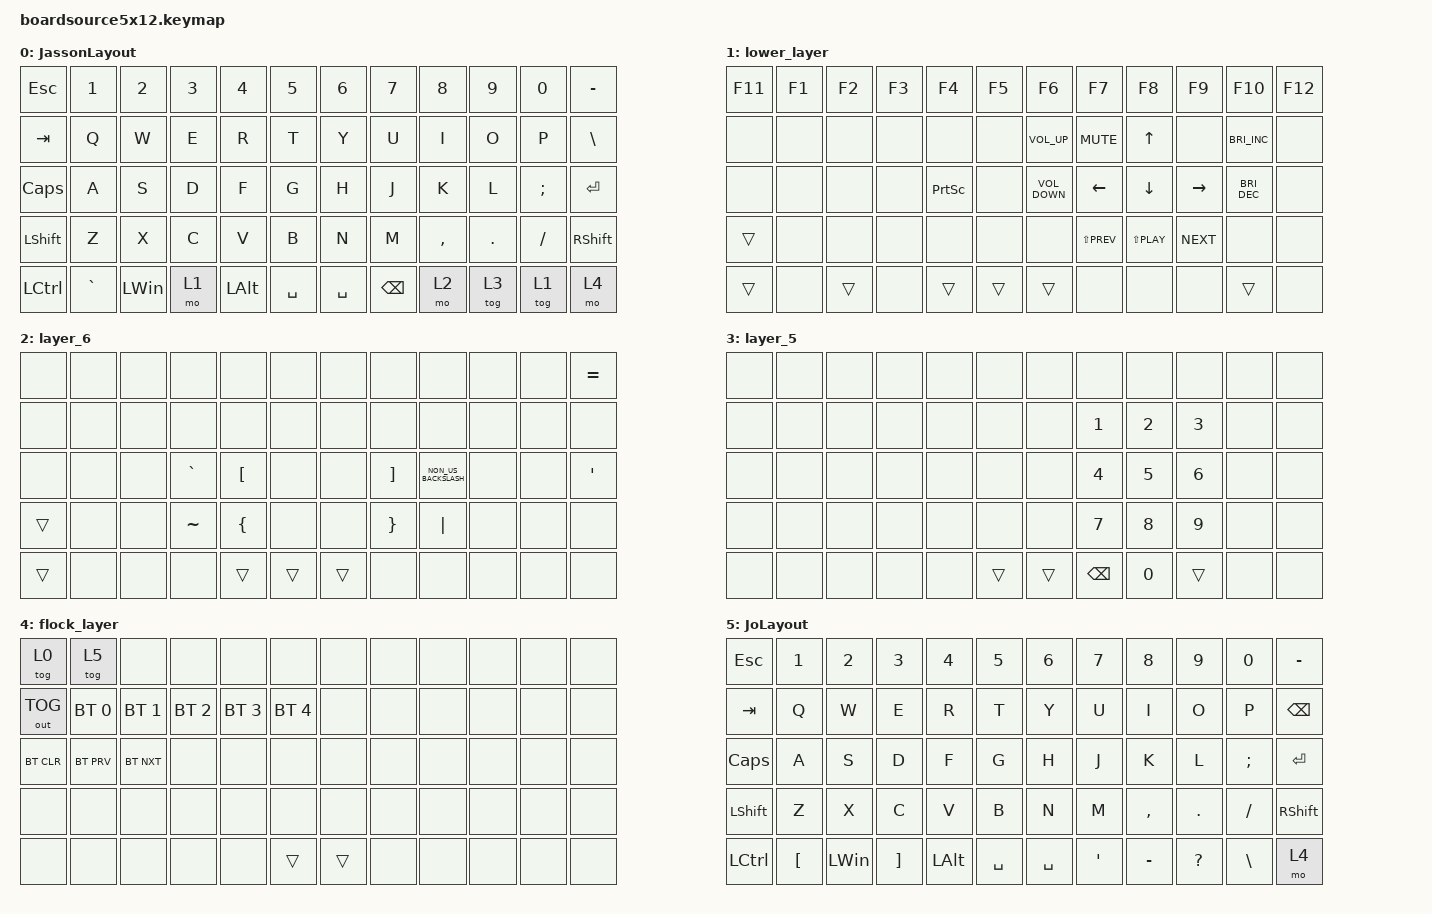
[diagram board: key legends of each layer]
/*
 * Copyright (c) 2021 The ZMK Contributors
 *
 * SPDX-License-Identifier: MIT
 */

/ {
    keymap {
        compatible = "zmk,keymap";

        /*
 * Copyright (c) 2021 The ZMK Contributors
 *
 * SPDX-License-Identifier: MIT
 */

#include <behaviors.dtsi>

#include <behaviors.dtsi>
#include <dt-bindings/zmk/bt.h>
#include <dt-bindings/zmk/keys.h>
#include <dt-bindings/zmk/outputs.h>

/ {
    keymap {
        compatible = "zmk,keymap";

        JassonLayout {
            // ------------------------------------------------------------------------------------------
            // |  ESC  |  1   |  2   |  3   |  4   |  5   |   6   |  7    |  8   |  9   |   0   | BSPC  |
            // |  TAB  |  Q   |  W   |  E   |  R   |  T   |   Y   |  U    |  I   |  O   |   P   |  \    |
            // | SHIFT |  A   |  S   |  D   |  F   |  G   |   H   |  J    |  K   |  L   |   ;   |  '    |
            // | CTRL  |  Z   |  X   |  C   |  V   |  B   |   N   |  M    |  ,   |  .   |   /   | ENTER |
            // |ADJUST | LCTL | LALT | LGUI | LOWR | SPACE| SPACE |  RAIS | LEFT | DOWN | UARW  | RARW  |

            bindings = <
&kp ESC           &kp N1     &kp N2        &kp N3  &kp N4        &kp N5     &kp N6     &kp N7         &kp N8     &kp N9   &kp N0    &kp MINUS
&kp TAB           &kp Q      &kp W         &kp E   &kp R         &kp T      &kp Y      &kp U          &kp I      &kp O    &kp P     &kp BSLH
&kp CAPSLOCK      &kp A      &kp S         &kp D   &kp F         &kp G      &kp H      &kp J          &kp K      &kp L    &kp SEMI  &kp ENTER
&kp LEFT_SHIFT    &kp Z      &kp X         &kp C   &kp V         &kp B      &kp N      &kp M          &kp COMMA  &kp DOT  &kp FSLH  &kp RIGHT_SHIFT
&kp LEFT_CONTROL  &kp GRAVE  &kp LEFT_WIN  &mo 1   &kp LEFT_ALT  &kp SPACE  &kp SPACE  &kp BACKSPACE  &mo 2      &tog 3   &tog 1    &mo 4
            >;
        };

        lower_layer {
            // -------------------------------------------------------------------------------------------
            // |  ESC  |  F2  |  F3  |  F4  |  F5  |  F6  |   F7  |  F8   |  F9  | F10  |  F11  |  F12  |
            // |   ~   |  !   |  @   |  #   |  $   |  %   |   ^   |   &   |  *   |  (   |   )   |  DEL  |
            // |       |  F1  |  F2  |  F3  |  F4  |  F5  |   F6  |   _   |  +   |  {   |   }   |   |   |
            // |       |  F7  |  F8  |  F9  |  F10 |  F11 |   F12 | LS(#) |LS(|) |      |       |       |
            // |       |      |      |      |      |      |       |       | NEXT | Vol- | Vol+ | PLAY   |

            bindings = <
&kp F11  &kp F1  &kp F2  &kp F3  &kp F4           &kp F5  &kp F6             &kp F7          &kp F8          &kp F9           &kp F10               &kp F12
&none    &none   &none   &none   &none            &none   &kp C_VOL_UP       &kp K_MUTE      &kp UP_ARROW    &none            &kp C_BRIGHTNESS_INC  &none
&none    &none   &none   &none   &kp PRINTSCREEN  &none   &kp C_VOLUME_DOWN  &kp LEFT_ARROW  &kp DOWN_ARROW  &kp RIGHT_ARROW  &kp C_BRIGHTNESS_DEC  &none
&trans   &none   &none   &none   &none            &none   &none              &kp LS(C_PREV)  &kp LS(C_PLAY)  &kp C_NEXT       &none                 &none
&trans   &none   &trans  &none   &trans           &trans  &trans             &none           &none           &none            &trans                &none
            >;
        };

        layer_6 {
            bindings = <
&none   &none  &none  &none      &none             &none   &none   &none              &none                 &none  &none  &kp EQUAL
&none   &none  &none  &none      &none             &none   &none   &none              &none                 &none  &none  &none
&none   &none  &none  &kp GRAVE  &kp LEFT_BRACKET  &none   &none   &kp RIGHT_BRACKET  &kp NON_US_BACKSLASH  &none  &none  &kp SQT
&trans  &none  &none  &kp TILDE  &kp LEFT_BRACE    &none   &none   &kp RIGHT_BRACE    &kp PIPE              &none  &none  &none
&trans  &none  &none  &none      &trans            &trans  &trans  &none              &none                 &none  &none  &none
            >;
        };

        layer_5 {
            bindings = <
&none  &none  &none  &none  &none  &none   &none   &none          &none         &none         &none  &none
&none  &none  &none  &none  &none  &none   &none   &kp NUMBER_1   &kp NUMBER_2  &kp NUMBER_3  &none  &none
&none  &none  &none  &none  &none  &none   &none   &kp NUMBER_4   &kp NUMBER_5  &kp NUMBER_6  &none  &none
&none  &none  &none  &none  &none  &none   &none   &kp NUMBER_7   &kp NUMBER_8  &kp NUMBER_9  &none  &none
&none  &none  &none  &none  &none  &trans  &trans  &kp BACKSPACE  &kp NUMBER_0  &trans        &none  &none
            >;
        };

        flock_layer {
            // ----------------------------------------------------------------------------------------------
            // |tog(4) |  F2    |   F3   |   F4   |   F5   |   F6   |  F7  |  F8  |  F9  | F10 | F11 |      |
            // |out tog|BT_SEL 0|BT_SEL 1|BT_SEL 2|BT_SEL 3|BT_SEL 4|BT_PRV|BT_NXT|BT_CLR|     |     |      |
            // |       |        |        |        |        |        |      |      |      |     |     |      |
            // |       |        |        |        |        |        |      |      |      |     |     |      |
            // |       |        |        |        |        |        |      |      |      |     |     |      |

            bindings = <
&tog 0        &tog 5        &none         &none         &none         &none         &none   &none  &none  &none  &none  &none
&out OUT_TOG  &bt BT_SEL 0  &bt BT_SEL 1  &bt BT_SEL 2  &bt BT_SEL 3  &bt BT_SEL 4  &none   &none  &none  &none  &none  &none
&bt BT_CLR    &bt BT_PRV    &bt BT_NXT    &none         &none         &none         &none   &none  &none  &none  &none  &none
&none         &none         &none         &none         &none         &none         &none   &none  &none  &none  &none  &none
&none         &none         &none         &none         &none         &trans        &trans  &none  &none  &none  &none  &none
            >;
        };

        JoLayout {
            bindings = <
&kp ESC           &kp N1            &kp N2        &kp N3             &kp N4        &kp N5     &kp N6     &kp N7   &kp N8     &kp N9        &kp N0         &kp MINUS
&kp TAB           &kp Q             &kp W         &kp E              &kp R         &kp T      &kp Y      &kp U    &kp I      &kp O         &kp P          &kp BACKSPACE
&kp CAPSLOCK      &kp A             &kp S         &kp D              &kp F         &kp G      &kp H      &kp J    &kp K      &kp L         &kp SEMI       &kp ENTER
&kp LEFT_SHIFT    &kp Z             &kp X         &kp C              &kp V         &kp B      &kp N      &kp M    &kp COMMA  &kp DOT       &kp SLASH      &kp RIGHT_SHIFT
&kp LEFT_CONTROL  &kp LEFT_BRACKET  &kp LEFT_WIN  &kp RIGHT_BRACKET  &kp LEFT_ALT  &kp SPACE  &kp SPACE  &kp SQT  &kp MINUS  &kp QUESTION  &kp BACKSLASH  &mo 4
            >;
        };
    };
};

};
};
